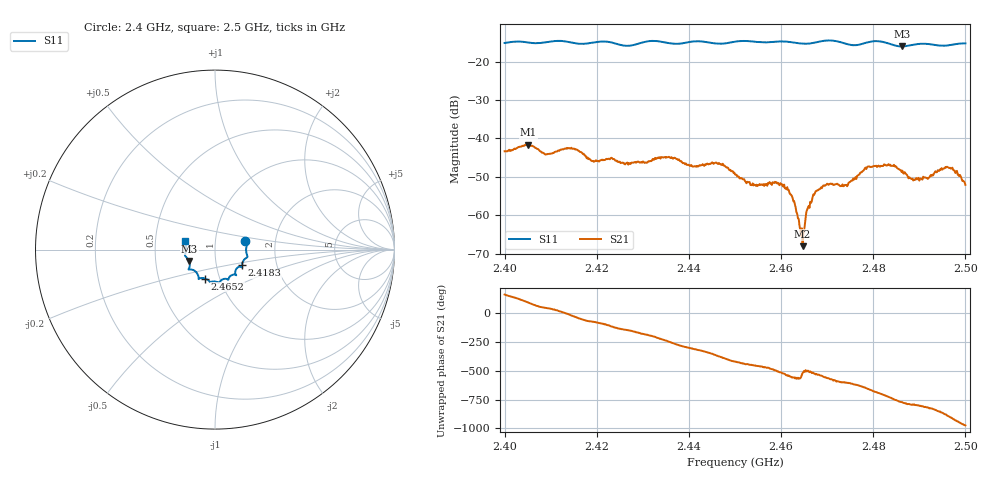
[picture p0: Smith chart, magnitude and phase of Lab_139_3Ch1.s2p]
# Hz S RI R 50
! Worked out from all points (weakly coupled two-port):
!   601 points, 2.4 GHz to 2.5 GHz, reference 50 ohm
!   highest |S21| = -41.59 dB at 2.4052 GHz (marker M1); lowest = -68.0 dB at 2.4647 GHz (marker M2)
!   lowest |S11| = -16.1 dB at 2.4862 GHz (marker M3), VSWR 1.37, Z = 37.2 - j4.86 ohm
!   |S11| at or under -10 dB: start of sweep to end of sweep
!   S12 and S22 are empty: the file has one direction only
!   S11 on the Smith chart (normalised r, x): 2.4 GHz: 1.40, +0.14; 2.4183 GHz: 1.33, -0.24; 2.4652 GHz: 0.85, -0.28; 2.5 GHz: 0.71, +0.07
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2.4e9  0.168 0.0473  -0.00633 0.00251  0 0  0 0
2.405167e9  0.1757 0.0171  0.000158 0.00833  0 0  0 0
2.409167e9  0.1768 -0.0274  0.00473 0.00404  0 0  0 0
2.416667e9  0.1553 -0.0681  0.00377 -0.00544  0 0  0 0
2.418333e9  0.1502 -0.0863  0.0016 -0.00523  0 0  0 0
2.433333e9  0.1172 -0.1413  -0.00444 0.00354  0 0  0 0
2.446167e9  0.0525 -0.1629  0.00463 -0.000944  0 0  0 0
2.45e9  0.0259 -0.1794  0.00159 -0.00302  0 0  0 0
2.453833e9  0.0148 -0.1816  -0.000107 -0.0026  0 0  0 0
2.461167e9  -0.0299 -0.1789  -0.00219 1.77e-05  0 0  0 0
2.462667e9  -0.0344 -0.1734  -0.00144 0.000494  0 0  0 0
2.464667e9  -0.0492 -0.1635  -0.000377 -0.000129  0 0  0 0
2.465167e9  -0.0544 -0.1615  -0.000666 -0.000388  0 0  0 0
2.466667e9  -0.0708 -0.158  -0.00145 -0.000501  0 0  0 0
2.4695e9  -0.0902 -0.1632  -0.0023 0.000742  0 0  0 0
2.474e9  -0.0949 -0.1419  -0.00107 0.00223  0 0  0 0
2.478667e9  -0.1382 -0.1105  0.0018 0.00385  0 0  0 0
2.483333e9  -0.1418 -0.0967  0.0046 -0.000611  0 0  0 0
2.486167e9  -0.1434 -0.0638  0.00223 -0.00291  0 0  0 0
2.489167e9  -0.1626 -0.0396  0.000598 -0.00288  0 0  0 0
2.496167e9  -0.1611 0.0171  -0.0042 -0.000632  0 0  0 0
2.5e9  -0.1659 0.0473  -0.000671 0.0024  0 0  0 0
